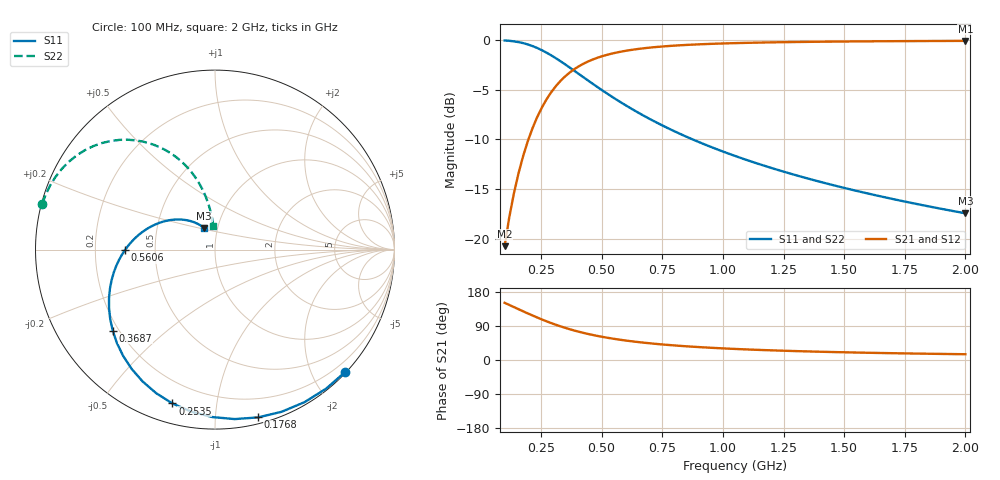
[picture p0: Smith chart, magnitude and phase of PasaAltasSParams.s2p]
! Created Sat Nov 25 14:21:20 2023
# hz S ri R 50
! 2 Port Network Data from SP1.SP block
! freq  reS11  imS11  reS21  imS21  reS12  imS12  reS22  imS22
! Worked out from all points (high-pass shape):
!   100 points, 100 MHz to 2 GHz, reference 50 ohm
!   highest |S21| = -0.08 dB at 2 GHz (marker M1); lowest = -20.8 dB at 100 MHz (marker M2)
!   |S21| within 3 dB of the highest: 379.1 MHz to end of sweep
!   lowest |S11| = -17.5 dB at 2 GHz (marker M3), VSWR 1.31, Z = 43.2 + j10.5 ohm
!   |S11| at or under -10 dB: 874.4 MHz to end of sweep
!   |S22| runs from -17.5 to 0.0 dB; largest |S21 - S12| = 1e-15
!   S11 on the Smith chart (normalised r, x): 100 MHz: 0.02, -2.53; 176.8 MHz: 0.05, -1.29; 253.5 MHz: 0.09, -0.76; 368.7 MHz: 0.18, -0.34; 560.6 MHz: 0.33, -0.00; 2 GHz: 0.86, +0.21
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1e8  0.7265 -0.681  -0.08 0.0444  -0.08 0.0444  -0.9622 0.2566
1.191919e8  0.6191 -0.7748  -0.1051 0.0728  -0.1051 0.0728  -0.9431 0.3068
1.383838e8  0.4997 -0.8496  -0.1287 0.1094  -0.1287 0.1094  -0.9191 0.3561
1.575758e8  0.3721 -0.9033  -0.1484 0.1537  -0.1484 0.1537  -0.8896 0.4036
1.767677e8  0.2406 -0.9348  -0.1622 0.2047  -0.1622 0.2047  -0.855 0.4481
1.959596e8  0.1099 -0.9443  -0.1683 0.2607  -0.1683 0.2607  -0.8155 0.4885
2.151515e8  -0.0157 -0.9328  -0.1658 0.3195  -0.1658 0.3195  -0.772 0.5239
2.535354e8  -0.237 -0.8574  -0.134 0.4368  -0.134 0.4368  -0.677 0.577
2.727273e8  -0.3277 -0.8  -0.1058 0.4913  -0.1058 0.4913  -0.628 0.5942
3.111111e8  -0.4648 -0.6641  -0.031 0.5848  -0.031 0.5848  -0.5324 0.6112
3.30303e8  -0.512 -0.5919  0.0126 0.6224  0.0126 0.6224  -0.4876 0.6122
3.686869e8  -0.5701 -0.451  0.1054 0.6786  0.1054 0.6786  -0.4064 0.6027
4.262626e8  -0.5902 -0.2679  0.243 0.7216  0.243 0.7216  -0.3079 0.5704
4.838384e8  -0.5644 -0.1285  0.3652 0.7291  0.3652 0.7291  -0.2351 0.5289
5.606061e8  -0.5019 -0.00265  0.4969 0.708  0.4969 0.708  -0.1681 0.4729
6.373737e8  -0.4342 0.074  0.5966 0.6709  0.5966 0.6709  -0.1242 0.4226
7.333333e8  -0.3587 0.1272  0.6873 0.6187  0.6873 0.6187  -0.0889 0.37
8.868687e8  -0.2665 0.1614  0.7818 0.5401  0.7818 0.5401  -0.0566 0.3063
1.059596e9  -0.1965 0.1677  0.8455 0.4673  0.8455 0.4673  -0.0375 0.2556
1.366667e9  -0.1236 0.1549  0.9065 0.3729  0.9065 0.3729  -0.0212 0.197
1.692929e9  -0.0824 0.1359  0.9389 0.3055  0.9389 0.3055  -0.0133 0.1584
2e9  -0.0598 0.1199  0.9561 0.2605  0.9561 0.2605  -0.00932 0.1337
